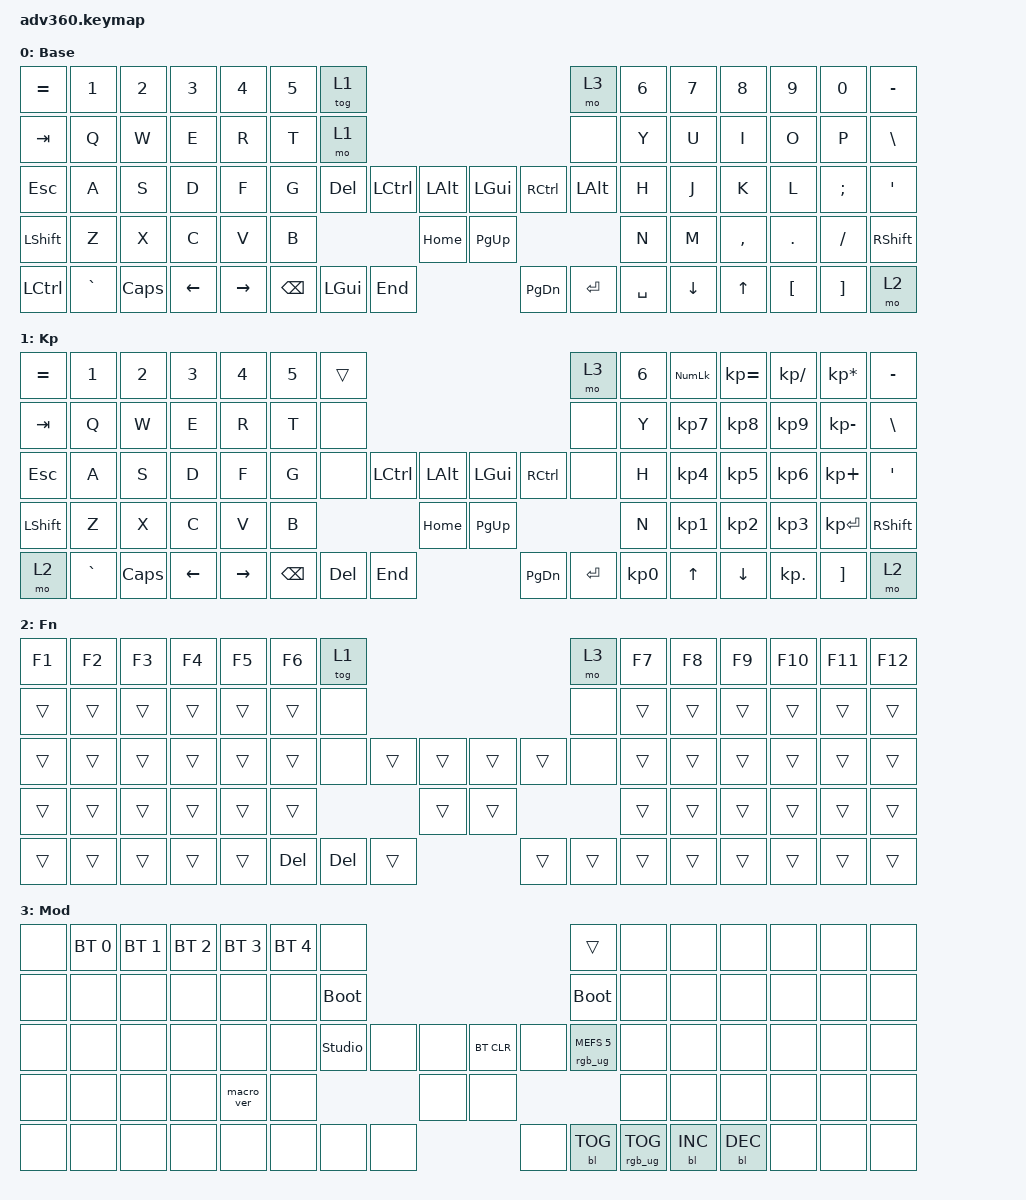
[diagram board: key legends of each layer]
/*
* Copyright (c) 2020 The ZMK Contributors
*
* SPDX-License-Identifier: MIT
*/
/* THIS FILE WAS GENERATED!
*
* This file was generated automatically. You may or may not want to
* edit it directly.
*/

#include <behaviors.dtsi>
#include <dt-bindings/zmk/backlight.h>
#include <dt-bindings/zmk/bt.h>
#include <dt-bindings/zmk/keys.h>
#include <dt-bindings/zmk/rgb.h>

/ {
  behaviors {
#include "macros.dtsi"
#include "version.dtsi"
#ifndef VERSION_MACRO

macro_ver: macro_ver {
  compatible = "zmk,behavior-macro";
  label = "macro_version";
  #binding-cells = <0>;
  bindings = <&kp RET>;
};

#endif

hm: homerow_mods {
  compatible = "zmk,behavior-hold-tap";
  label = "HOMEROW_MODS";
  #binding-cells = <2>;
  tapping-term-ms = <200>;
  quick_tap_ms = <175>;
  flavor = "tap-preferred";
  bindings = <&kp>, <&kp>;
};
  };

//combos {
  //  compatible = "zmk,combos";
  //
//  combo_grave {
  //    timeout-ms = <25>;
  //    key-positions = <18 19>;
  //    bindings = <&kp GRAVE>;
  //  };
  //
//  combo_minus {
  //    timeout-ms = <25>;
  //    key-positions = <22 23>;
  //    bindings = <&kp MINUS>;
  //  };
  //
//  combo_equal {
  //    timeout-ms = <25>;
  //    key-positions = <40 41>;
  //    bindings = <&kp EQUAL>;
  //  };
  //
//  combo_lbrc {
  //    timeout-ms = <25>;
  //    key-positions = <23 24>;
  //    bindings = <&kp LBRC>;
  //  };
  //
//  combo_rbrc {
  //    timeout-ms = <25>;
  //    key-positions = <24 25>;
  //    bindings = <&kp RBRC>;
  //  };
  //
//  combo_lpar {
  //    timeout-ms = <25>;
  //    key-positions = <41 42>;
  //    bindings = <&kp LPAR>;
  //  };
  //
//  combo_rpar {
  //    timeout-ms = <25>;
  //    key-positions = <42 43>;
  //    bindings = <&kp RPAR>;
  //  };
  //
//  combo_lbkt {
  //    timeout-ms = <25>;
  //    key-positions = <55 56>;
  //    bindings = <&kp LBKT>;
  //  };
  //
//  combo_rbkt {
  //    timeout-ms = <25>;
  //    key-positions = <57 56>;
  //    bindings = <&kp RBKT>;
  //  };
  //};

  macros {
  };

  keymap {
    compatible = "zmk,keymap";

    default_layer {

      display-name = "Base";
      bindings = <
        &kp EQUAL  &kp N1     &kp N2  &kp N3    &kp N4     &kp N5  &tog 1                                                     &mo 3      &kp N6  &kp N7    &kp N8     &kp N9    &kp N0    &kp MINUS
        &kp TAB    &kp Q      &kp W   &kp E     &kp R      &kp T   &mo 1                                                      &none      &kp Y   &kp U     &kp I      &kp O     &kp P     &kp BSLH
        &kp ESC    &kp A      &kp S   &kp D     &kp F      &kp G   &kp DELETE  &kp LCTRL  &kp LALT      &kp LGUI   &kp RCTRL  &kp LALT   &kp H   &kp J     &kp K      &kp L     &kp SEMI  &kp SQT
        &kp LSHFT  &kp Z      &kp X   &kp C     &kp V      &kp B                          &kp HOME      &kp PG_UP                        &kp N   &kp M     &kp COMMA  &kp DOT   &kp FSLH  &kp RSHFT
        &kp LCTRL  &kp GRAVE  &kp CAPS   &kp LEFT  &kp RIGHT          &kp BSPC    &kp LGUI   &kp END       &kp PG_DN  &kp ENTER  &kp SPACE          &kp DOWN  &kp UP     &kp LBKT  &kp RBKT  &mo 2
      >;
    };

    keypad {
      display-name = "Kp";
      bindings = <
        &kp EQUAL &kp N1    &kp N2   &kp N3   &kp N4     &kp N5 &trans                                                           &mo 3 &kp N6 &kp KP_NUM &kp KP_EQUAL &kp KP_DIVIDE &kp KP_MULTIPLY &kp MINUS
        &kp TAB   &kp Q     &kp W    &kp E    &kp R      &kp T  &none                                                            &none &kp Y  &kp KP_N7  &kp KP_N8    &kp KP_N9     &kp KP_MINUS    &kp BSLH
        &kp ESC   &kp A     &kp S    &kp D    &kp F      &kp G  &none           &kp LCTRL &kp LALT &kp LGUI  &kp RCTRL           &none &kp H  &kp KP_N4  &kp KP_N5    &kp KP_N6     &kp KP_PLUS     &kp SQT
        &kp LSHFT &kp Z     &kp X    &kp C    &kp V      &kp B                            &kp HOME &kp PG_UP                           &kp N  &kp KP_N1  &kp KP_N2    &kp KP_N3     &kp KP_ENTER    &kp RSHFT
        &mo 2     &kp GRAVE &kp CAPS &kp LEFT &kp RIGHT                &kp BSPC &kp DEL   &kp END  &kp PG_DN &kp ENTER &kp KP_N0              &kp UP     &kp DOWN     &kp KP_DOT    &kp RBKT        &mo 2
      >;
    };

    fn {

      display-name = "Fn";
      bindings = <
        &kp F1  &kp F2  &kp F3  &kp F4  &kp F5  &kp F6  &tog 1                                           &mo 3   &kp F7  &kp F8  &kp F9  &kp F10  &kp F11  &kp F12
        &trans  &trans  &trans  &trans  &trans  &trans  &none                                            &none   &trans  &trans  &trans  &trans   &trans   &trans
        &trans  &trans  &trans  &trans  &trans  &trans  &none    &trans      &trans      &trans  &trans  &none   &trans  &trans  &trans  &trans   &trans   &trans
        &trans  &trans  &trans  &trans  &trans  &trans                       &trans      &trans                  &trans  &trans  &trans  &trans   &trans   &trans
        &trans  &trans  &trans  &trans  &trans          &kp DEL  &kp DELETE  &trans      &trans  &trans  &trans          &trans  &trans  &trans   &trans   &trans
      >;
    };

    mod {

      display-name = "Mod";
      bindings = <
        &none  &bt BT_SEL 0  &bt BT_SEL 1  &bt BT_SEL 2  &bt BT_SEL 3  &bt BT_SEL 4  &none                                                  &trans                  &none  &none       &none       &none  &none  &none
        &none  &none         &none         &none         &none         &none         &bootloader                                            &bootloader             &none  &none       &none       &none  &none  &none
        &none  &none         &none         &none         &none         &none         &studio_unlock &none  &none      &bt BT_CLR  &none       &rgb_ug RGB_MEFS_CMD 5  &none  &none       &none       &none  &none  &none
        &none  &none         &none         &none         &macro_ver    &none                               &none      &none                                           &none  &none       &none       &none  &none  &none
        &none  &none         &none         &none         &none                       &none          &none  &none      &none       &bl BL_TOG  &rgb_ug RGB_TOG                &bl BL_INC  &bl BL_DEC  &none  &none  &none
      >;
    };

    extra1 { 
    display-name = "Extra";    
    status = "reserved";
    };

    extra2 { 
    display-name = "Extra";    
    status = "reserved";
    };

    extra3 { 
    display-name = "Extra";    
    status = "reserved";
    };

    extra4 { 
    display-name = "Extra";    
    status = "reserved";
    };
  };
};
